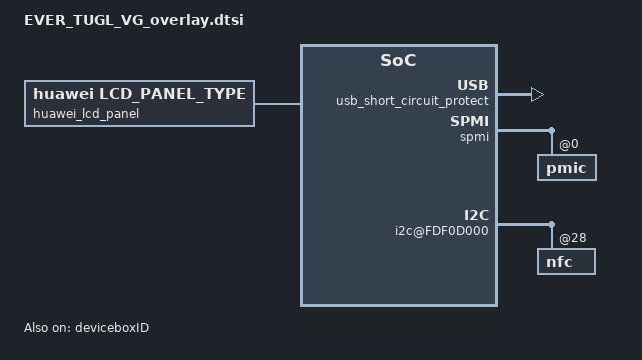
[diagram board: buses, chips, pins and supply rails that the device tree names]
/**
 * Copyright (C) 2014 Hisilicon Ltd.
 *
 *  This program is free software; you can redistribute it and/or modify
 *  it under the terms of the GNU General Public License version 2 as
 *  publishhed by the Free Software Foundation.
 */


/include/ "EVER_TUGL_VF_overlay.dtsi"

/ {
    board_id = <8460>;
};
	&rootparam{
		hisi,boardid = <8 4 6 0>;
		hisi,boardname = "EVER_TUGL_VG";
		hisi,modem_id = <0x37021000>;
	};
	&deviceboxID {
		gpio_receiverID = <&gpio16 3 0>;
		pinctrl-0 = <&gpio242_pmx_func &gpio242_cfg_func &gpio131_pmx_func &gpio131_cfg_func>;
		pinctrl-1 = <&gpio242_pmx_idle &gpio242_cfg_idle &gpio131_pmx_idle &gpio131_cfg_idle>;
		status = "ok";
	};

	&usb_short_circuit_protect {
		gpio_usb_short_circuit_protect = <&gpio16 6 0>;
		status = "ok";
	};
	&huawei_imx600hybrid {
		gpios = <&gpio1 4 0 &gpio17 0 0>;
	};
	&huawei_lcd_panel {
		compatible = "huawei,lcd_panel_type";
		product_id = <4001>;
		detect_type = <2>; /*0:DETECT_GPIOID  1:DETECT_CHIPID  2:DETECT_LCD_TYPE */
		gpio_id = <16 132>; /*ID0 ID1*/
		support_lcd_type = "LCD_KIT";
		lcd_panel_type = "auo_otm1901a_5p2_1080p_video";
	};
	&spmi {
		pmic@0 {
				pmic_led@a0 {
					status = "ok";
				};
		};
	};
	&amba {
            i2c@FDF0D000 {
                    nfc@28{
                            nfc_chip_type = "pn80t";
                            nfc_ese_type = "p61";
			    nfc_ese_num = <0x2>;
                };
            };
    }; 
